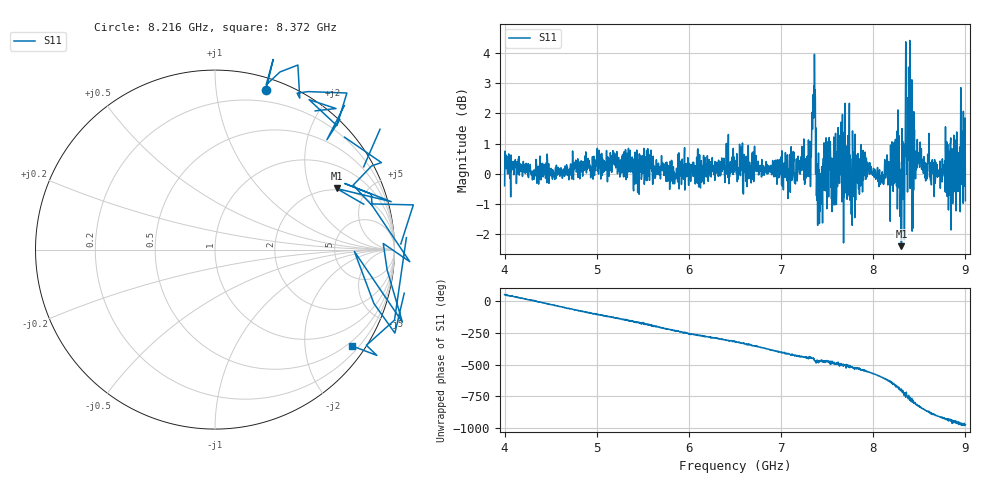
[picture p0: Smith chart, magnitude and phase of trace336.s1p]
! Created with skrf 1.8.0 (http://scikit-rf.org).
# Hz S RI R 50.0
!freq ReS11 ImS11
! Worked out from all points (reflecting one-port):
!   1601 points, 4 GHz to 9 GHz, reference 50 ohm
!   lowest |S11| = -2.4 dB at 8.306 GHz (marker M1), VSWR 7.26, Z = 96.6 + j155 ohm
!   phase of S11 starts at 53 deg and turns -1026 deg over the sweep
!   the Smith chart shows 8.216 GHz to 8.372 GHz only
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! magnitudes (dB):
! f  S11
! 4 GHz  -0.4
! 4.028 GHz  0.4
! 4.625 GHz  -0.2
! 5.25 GHz  -0.1
! 5.875 GHz  0.1
! 6.5 GHz  0.4
! 7.125 GHz  -0.1
! 7.297 GHz  1.1
! 7.356 GHz  2.9
! 7.409 GHz  -1.2
! 7.509 GHz  -0.6
! 7.578 GHz  0.6
! 7.669 GHz  0.2
! 7.75 GHz  -0.9
! 7.931 GHz  -0.1
! 8.097 GHz  0.1
! 8.253 GHz  -0.4
! 8.306 GHz  -2.4
! 8.316 GHz  0.3
! 8.334 GHz  1.0
! 8.35 GHz  2.7
! 8.375 GHz  0.3
! 8.447 GHz  1.5
! 8.466 GHz  0.1
! 8.556 GHz  0.1
! 8.841 GHz  1.2
! 8.972 GHz  0.9
! 9 GHz  -0.9
